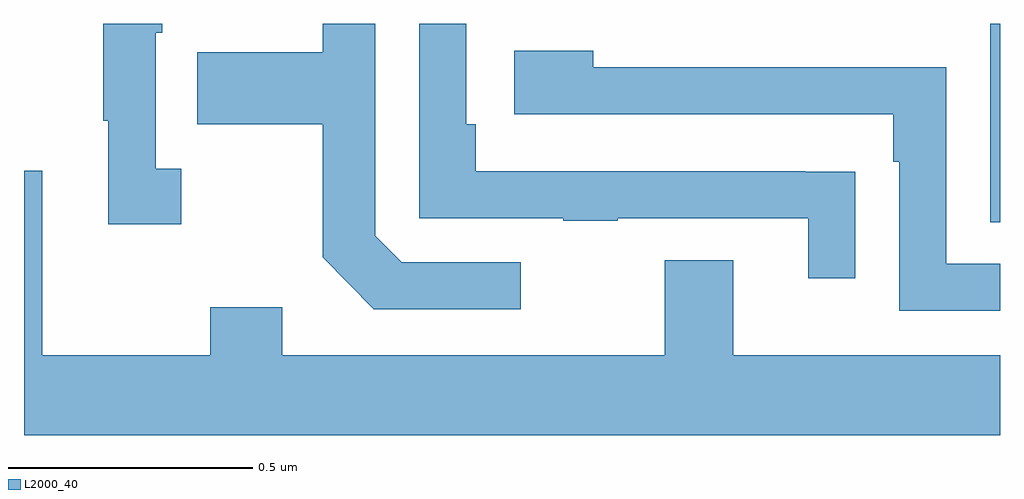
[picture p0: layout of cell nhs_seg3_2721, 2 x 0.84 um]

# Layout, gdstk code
import gdstk
lib = gdstk.Library(unit=1e-6, precision=1e-09)
def R(c, l, rs):  # rectangles x0, y0, x1, y1
    for r in rs: c.add(gdstk.rectangle(r[:2], r[2:], *l))
def P(c, l, *ps):  # polygons
    for p in ps: c.add(gdstk.Polygon(p, *l))
L2000_40 = (2000, 40)

nhs_seg3_2721 = lib.new_cell('nhs_seg3_2721')
R(nhs_seg3_2721, L2000_40, [(145.98,727.993,146,728.4)])
P(nhs_seg3_2721, L2000_40, [(145.018,727.911),(144.774,727.911),(144.72,727.965),(144.72,728.4),(144.612,728.4),(144.612,728.341),(144.355,728.341),(144.355,728.194),(144.612,728.194),(144.612,727.921),(144.717,727.815),(145.018,727.815)],
  [(144.322,728.102),(144.27,728.102),(144.27,728.381),(144.283,728.381),(144.283,728.4),(144.162,728.4),(144.162,728.201),(144.173,728.201),(144.173,727.989),(144.322,727.989)],
  [(145.703,728.096),(145.601,728.096),(145.601,728.097),(144.926,728.097),(144.926,728.194),(144.906,728.194),(144.906,728.4),(144.81,728.4),(144.81,728.001),(145.105,728.001),(145.105,727.996),(145.217,727.996),(145.217,728.001),(145.607,728.001),(145.607,727.878),(145.703,727.878)],
  [(146,727.908),(145.89,727.908),(145.89,728.31),(145.166,728.31),(145.166,728.344),(145.005,728.344),(145.005,728.214),(145.781,728.214),(145.781,728.117),(145.794,728.117),(145.794,727.812),(146,727.812)],
  [(146,727.72),(145.453,727.72),(145.453,727.915),(145.313,727.915),(145.313,727.72),(144.529,727.72),(144.529,727.819),(144.382,727.819),(144.382,727.72),(144.037,727.72),(144.037,728.098),(144,728.098),(144,727.556),(146,727.556)])

lib.write_gds('nhs_seg3_2721.gds')
